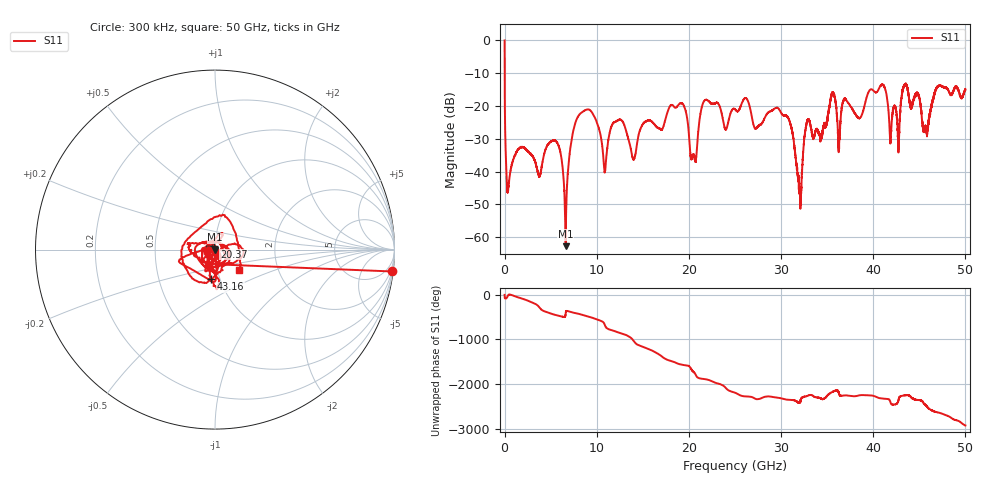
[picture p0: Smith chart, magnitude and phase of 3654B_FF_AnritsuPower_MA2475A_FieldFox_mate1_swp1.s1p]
!Created with skrf (http://scikit-rf.org).
# Hz S RI R 50.0
!freq ReS11 ImS11
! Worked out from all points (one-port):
!   10001 points, 300 kHz to 50 GHz, reference 50 ohm
!   lowest |S11| = -62.8 dB at 6.625 GHz (marker M1), VSWR 1.00, Z = 50 - j0.0532 ohm
!   |S11| at or under -10 dB: 7.702 MHz to end of sweep
!   S11 on the Smith chart (normalised r, x): 300 kHz: 1, -16; 20.37 GHz: 0.99, +0.03; 43.16 GHz: 0.91, -0.31; 50 GHz: 1.26, -0.31
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300000  0.9859 -0.1219
4.152975e8  0.0058 -0.00088
1.805289e9  0.00239 -0.0233
3.755277e9  0.0015 0.00818
5.460267e9  -0.00105 -0.0298
6.250262e9  -0.00893 -0.00952
6.62526e9  0.000498 -0.000531
8.060252e9  0.0223 -0.0686
9.625242e9  -0.0705 -0.0198
1.087523e10  0.00737 0.00631
1.250022e10  -0.0448 -0.0427
1.400522e10  0.0107 0.0109
1.875019e10  -0.0142 -0.098
1.957018e10  -0.0672 -0.0612
2.036518e10  -0.00302 0.0173
2.171017e10  0.00588 -0.1214
2.500015e10  0.0765 -0.0452
3.125011e10  -0.0372 0.00988
3.202511e10  -0.00153 0.0045
3.28901e10  -0.00942 -0.0595
3.750008e10  -0.0212 -0.0981
4.101005e10  -0.2008 -0.0628
4.270504e10  -0.0164 0.021
4.316004e10  -0.0216 -0.1655
4.375004e10  0.0177 -0.1683
4.565503e10  0.0266 0.0384
4.700002e10  -0.067 -0.1836
5e10  0.1315 -0.1173
